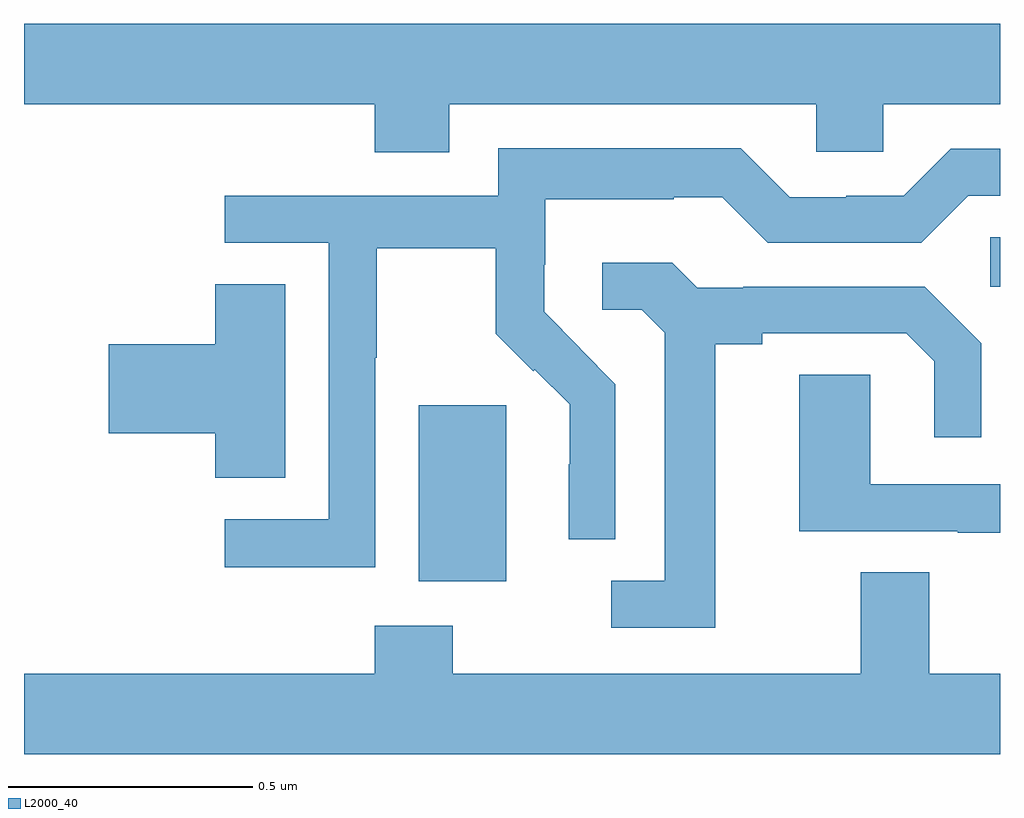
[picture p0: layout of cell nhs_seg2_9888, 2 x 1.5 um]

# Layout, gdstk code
import gdstk
lib = gdstk.Library(unit=1e-6, precision=1e-09)
def R(c, l, rs):  # rectangles x0, y0, x1, y1
    for r in rs: c.add(gdstk.rectangle(r[:2], r[2:], *l))
def P(c, l, *ps):  # polygons
    for p in ps: c.add(gdstk.Polygon(p, *l))
L2000_40 = (2000, 40)

nhs_seg2_9888 = lib.new_cell('nhs_seg2_9888')
R(nhs_seg2_9888, L2000_40, [(234.809,654.65,234.988,655.011), (235.98,655.254,236,655.355)])
P(nhs_seg2_9888, L2000_40, [(234.871,655.628),(235.623,655.628),(235.623,655.53),(235.761,655.53),(235.761,655.628),(236,655.628),(236,655.792),(234,655.792),(234,655.628),(234.719,655.628),(234.719,655.529),(234.871,655.529)],
  [(234.72,655.108),(234.723,655.108),(234.723,655.332),(234.967,655.332),(234.967,655.157),(235.044,655.08),(235.047,655.083),(235.118,655.013),(235.118,654.89),(235.116,654.89),(235.116,654.736),(235.212,654.736),(235.212,655.054),(235.139,655.127),(235.14,655.128),(235.066,655.202),(235.066,655.299),(235.068,655.299),(235.068,655.433),(235.331,655.433),(235.331,655.437),(235.431,655.437),(235.524,655.344),(235.839,655.344),(235.935,655.44),(236,655.44),(236,655.536),(235.899,655.536),(235.803,655.44),(235.685,655.44),(235.685,655.437),(235.569,655.437),(235.469,655.537),(234.972,655.537),(234.972,655.44),(234.411,655.44),(234.411,655.344),(234.624,655.344),(234.624,654.777),(234.411,654.777),(234.411,654.679),(234.72,654.679)],
  [(235.417,655.136),(235.513,655.136),(235.513,655.158),(235.808,655.158),(235.865,655.101),(235.865,654.945),(235.962,654.945),(235.962,655.138),(235.846,655.254),(235.474,655.254),(235.474,655.251),(235.38,655.251),(235.328,655.303),(235.185,655.303),(235.185,655.206),(235.266,655.206),(235.313,655.159),(235.313,654.651),(235.203,654.651),(235.203,654.555),(235.417,654.555)],
  [(234.535,655.259),(234.392,655.259),(234.392,655.136),(234.174,655.136),(234.174,654.953),(234.392,654.953),(234.392,654.862),(234.535,654.862)],
  [(236,654.849),(235.734,654.849),(235.734,655.073),(235.589,655.073),(235.589,654.753),(235.913,654.753),(235.913,654.749),(236,654.749)],
  [(236,654.46),(235.855,654.46),(235.855,654.668),(235.715,654.668),(235.715,654.46),(234.879,654.46),(234.879,654.559),(234.719,654.559),(234.719,654.46),(234,654.46),(234,654.296),(236,654.296)])

lib.write_gds('nhs_seg2_9888.gds')
